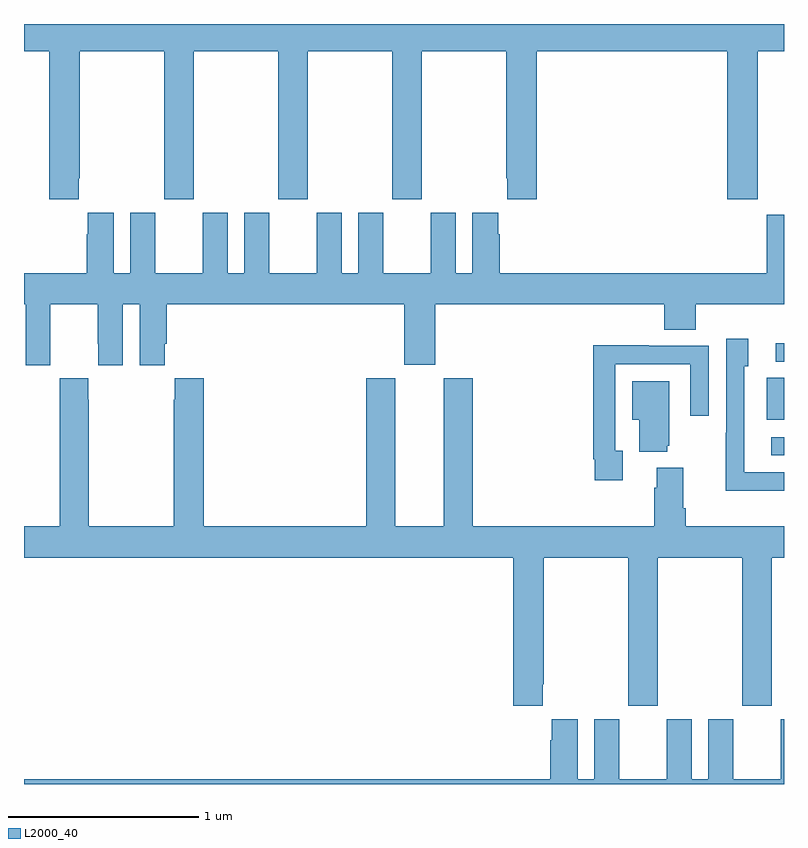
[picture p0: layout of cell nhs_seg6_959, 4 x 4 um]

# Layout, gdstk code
import gdstk
lib = gdstk.Library(unit=1e-6, precision=1e-09)
def R(c, l, rs):  # rectangles x0, y0, x1, y1
    for r in rs: c.add(gdstk.rectangle(r[:2], r[2:], *l))
def P(c, l, *ps):  # polygons
    for p in ps: c.add(gdstk.Polygon(p, *l))
L2000_40 = (2000, 40)

nhs_seg6_959 = lib.new_cell('nhs_seg6_959')
R(nhs_seg6_959, L2000_40, [(174.933,925.23,175,925.326), (174.908,925.418,175,925.637), (174.957,925.722,175,925.82)])
P(nhs_seg6_959, L2000_40, [(171.289,926.689),(171.294,926.689),(171.294,927.356),(171.739,927.356),(171.739,926.577),(171.894,926.577),(171.894,927.356),(172.339,927.356),(172.339,926.577),(172.494,926.577),(172.494,927.356),(172.939,927.356),(172.939,926.577),(173.094,926.577),(173.094,927.356),(173.539,927.356),(173.539,926.689),(173.543,926.689),(173.543,926.577),(173.699,926.577),(173.699,927.356),(174.701,927.356),(174.701,926.577),(174.861,926.577),(174.861,927.356),(175,927.356),(175,927.5),(171,927.5),(171,927.356),(171.134,927.356),(171.134,926.577),(171.289,926.577)],
  [(171.691,926.506),(171.56,926.506),(171.56,926.188),(171.472,926.188),(171.472,926.506),(171.335,926.506),(171.335,926.393),(171.329,926.393),(171.329,926.188),(171,926.188),(171,926.024),(171.008,926.024),(171.008,925.704),(171.138,925.704),(171.138,925.816),(171.139,925.816),(171.139,926.024),(171.389,926.024),(171.389,925.816),(171.39,925.816),(171.39,925.704),(171.52,925.704),(171.52,926.024),(171.608,926.024),(171.608,925.704),(171.742,925.704),(171.742,925.816),(171.752,925.816),(171.752,926.024),(173,926.024),(173,925.707),(173.164,925.707),(173.164,926.024),(174.371,926.024),(174.371,925.891),(174.536,925.891),(174.536,926.024),(175,926.024),(175,926.497),(174.908,926.497),(174.908,926.188),(173.504,926.188),(173.504,926.393),(173.497,926.393),(173.497,926.506),(173.36,926.506),(173.36,926.188),(173.272,926.188),(173.272,926.506),(173.141,926.506),(173.141,926.188),(172.891,926.188),(172.891,926.506),(172.76,926.506),(172.76,926.188),(172.672,926.188),(172.672,926.506),(172.541,926.506),(172.541,926.188),(172.291,926.188),(172.291,926.506),(172.16,926.506),(172.16,926.188),(172.072,926.188),(172.072,926.506),(171.941,926.506),(171.941,926.188),(171.691,926.188)],
  [(175,925.14),(174.792,925.14),(174.792,925.698),(174.811,925.698),(174.811,925.843),(174.696,925.843),(174.696,925.349),(174.694,925.349),(174.694,925.043),(175,925.043)],
  [(174.151,925.254),(174.111,925.254),(174.111,925.71),(174.507,925.71),(174.507,925.437),(174.603,925.437),(174.603,925.806),(174.287,925.806),(174.287,925.808),(173.995,925.808),(173.995,925.21),(174.003,925.21),(174.003,925.098),(174.151,925.098)],
  [(173.731,924.025),(173.736,924.025),(173.736,924.692),(174.181,924.692),(174.181,923.913),(174.336,923.913),(174.336,924.692),(174.781,924.692),(174.781,923.913),(174.936,923.913),(174.936,924.692),(175,924.692),(175,924.856),(174.482,924.856),(174.482,924.952),(174.469,924.952),(174.469,925.165),(174.329,925.165),(174.329,925.058),(174.317,925.058),(174.317,924.856),(173.363,924.856),(173.363,925.635),(173.21,925.635),(173.21,924.856),(172.954,924.856),(172.954,925.635),(172.802,925.635),(172.802,924.856),(171.947,924.856),(171.947,925.636),(171.793,925.636),(171.793,925.523),(171.787,925.523),(171.787,924.856),(171.342,924.856),(171.342,925.523),(171.339,925.523),(171.339,925.636),(171.189,925.636),(171.189,925.523),(171.187,925.523),(171.187,924.856),(171,924.856),(171,924.692),(173.576,924.692),(173.576,923.913),(173.731,923.913)],
  [(174.386,925.281),(174.397,925.281),(174.397,925.621),(174.2,925.621),(174.2,925.418),(174.239,925.418),(174.239,925.25),(174.386,925.25)],
  [(174.133,923.842),(174.002,923.842),(174.002,923.524),(173.914,923.524),(173.914,923.842),(173.777,923.842),(173.777,923.729),(173.771,923.729),(173.771,923.524),(171,923.524),(171,923.5),(175,923.5),(175,923.842),(174.983,923.842),(174.983,923.524),(174.733,923.524),(174.733,923.842),(174.602,923.842),(174.602,923.524),(174.514,923.524),(174.514,923.842),(174.383,923.842),(174.383,923.524),(174.133,923.524)])

lib.write_gds('nhs_seg6_959.gds')
